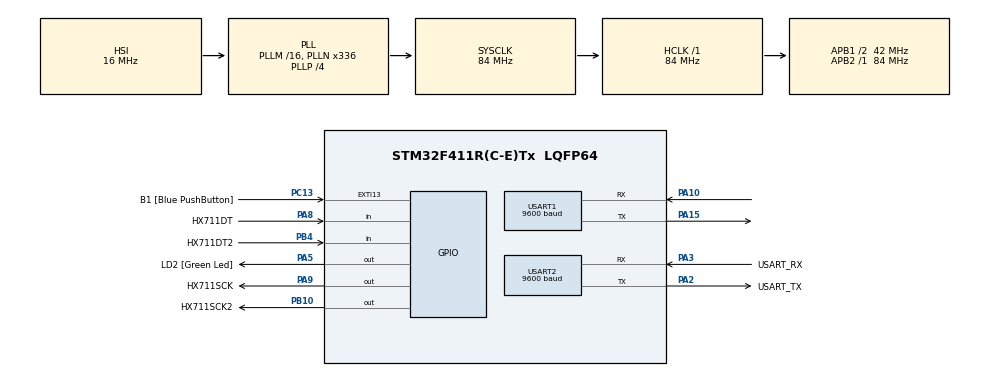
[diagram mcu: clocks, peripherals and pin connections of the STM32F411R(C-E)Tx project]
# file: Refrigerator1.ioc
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FREERTOS.Tasks01=defaultTask,0,128,StartDefaultTask,Default,NULL
FREERTOS.configUSE_TIMERS=1
Mcu.Family=STM32F4
Mcu.Name=STM32F411R(C-E)Tx
Mcu.Package=LQFP64
NVIC.PriorityGroup=NVIC_PRIORITYGROUP_4
PA10.Mode=Asynchronous
PA10.Signal=USART1_RX
PA13.GPIO_Label=TMS
PA13.Mode=Serial_Wire
PA13.Signal=SYS_JTMS-SWDIO
PA14.GPIO_Label=TCK
PA14.Mode=Serial_Wire
PA14.Signal=SYS_JTCK-SWCLK
PA15.Mode=Asynchronous
PA15.Signal=USART1_TX
PA2.GPIO_Label=USART_TX
PA2.Mode=Asynchronous
PA2.Signal=USART2_TX
PA3.GPIO_Label=USART_RX
PA3.Mode=Asynchronous
PA3.Signal=USART2_RX
PA5.GPIO_Label=LD2 [Green Led]
PA5.Signal=GPIO_Output
PA8.GPIO_Label=HX711DT
PA8.Signal=GPIO_Input
PA9.GPIO_Label=HX711SCK
PA9.Signal=GPIO_Output
PB10.GPIO_Label=HX711SCK2
PB10.Signal=GPIO_Output
PB3.GPIO_Label=SWO
PB3.Signal=SYS_JTDO-SWO
PB4.GPIO_Label=HX711DT2
PB4.Signal=GPIO_Input
PC13-ANTI_TAMP.GPIO_Label=B1 [Blue PushButton]
PC13-ANTI_TAMP.GPIO_ModeDefaultEXTI=GPIO_MODE_IT_FALLING
PC13-ANTI_TAMP.Signal=GPXTI13
PC14-OSC32_IN.Mode=LSE-External-Oscillator
PC14-OSC32_IN.Signal=RCC_OSC32_IN
PC15-OSC32_OUT.Mode=LSE-External-Oscillator
PC15-OSC32_OUT.Signal=RCC_OSC32_OUT
PH0\ -\ OSC_IN.Mode=HSE-External-Clock-Source
PH0\ -\ OSC_IN.Signal=RCC_OSC_IN
PH1\ -\ OSC_OUT.Mode=HSE-External-Clock-Source
PH1\ -\ OSC_OUT.Signal=RCC_OSC_OUT
ProjectManager.HeapSize=0x200
ProjectManager.StackSize=0x400
ProjectManager.TargetToolchain=STM32CubeIDE
RCC.48MHZClocksFreq_Value=84000000
RCC.AHBFreq_Value=84000000
RCC.APB1CLKDivider=RCC_HCLK_DIV2
RCC.APB1Freq_Value=42000000
RCC.APB1TimFreq_Value=84000000
RCC.APB2Freq_Value=84000000
RCC.APB2TimFreq_Value=84000000
RCC.CortexFreq_Value=84000000
RCC.FLatency-AdvancedSettings=FLASH_LATENCY_2
RCC.HCLKFreq_Value=84000000
RCC.HSE_VALUE=8000000
RCC.HSI_VALUE=16000000
RCC.PLLN=336
RCC.PLLP=RCC_PLLP_DIV4
RCC.SYSCLKFreq_VALUE=84000000
RCC.SYSCLKSource=RCC_SYSCLKSOURCE_PLLCLK
RCC.VCOOutputFreq_Value=336000000
USART1.BaudRate=9600
USART1.VirtualMode=VM_ASYNC
USART2.BaudRate=9600
USART2.VirtualMode=VM_ASYNC
VP_FREERTOS_VS_CMSIS_V1.Mode=CMSIS_V1
board=NUCLEO-F411RE

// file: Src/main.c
/* USER CODE BEGIN Header */
/**
  ******************************************************************************
  * @file           : main.c
  * @brief          : Main program body
  ******************************************************************************
  * @attention
  *
  * <h2><center>&copy; Copyright (c) 2019 STMicroelectronics.
  * All rights reserved.</center></h2>
  *
  * This software component is licensed by ST under BSD 3-Clause license,
  * the "License"; You may not use this file except in compliance with the
  * License. You may obtain a copy of the License at:
  *                        opensource.org/licenses/BSD-3-Clause
  *
  ******************************************************************************
  */
/* USER CODE END Header */

#include "main.h"
#include "cmsis_os.h"

/* USER CODE BEGIN Includes */
#include "hx711.h"
#include "string.h"
/* USER CODE END Includes */

UART_HandleTypeDef huart1;
UART_HandleTypeDef huart2;

osThreadId defaultTaskHandle;
/* USER CODE BEGIN PV */
volatile int meres = 0;
volatile int meresAtlag = 0;
volatile int meres2 = 0;
volatile int meresAtlag2 = 0;
char buffer[100] = "s";
HX711 hx11;
HX711 hx112;
/* USER CODE END PV */

void SystemClock_Config(void);
static void MX_GPIO_Init(void);
static void MX_USART2_UART_Init(void);
static void MX_USART1_UART_Init(void);
void StartDefaultTask(void const * argument);

/* USER CODE BEGIN 0 */
void transmitter(void *arg){
	HAL_GPIO_TogglePin(GPIOA, GPIO_PIN_5);
	meres = -(HX711_Value(hx11) - 8547400) - 150000;
	for(int i = 0;i<100;i++){
		buffer[i] = '\0';
	}
	if(meres < 0){
		sprintf(buffer,"sSlot 1 : Not enough food. Please refill. Current weight : %d\n\r", meres);
	}
	else{
		sprintf(buffer,"sSlot 1 : Current weight : %d\n\r", meres);
	}
	HAL_UART_Transmit(&huart1, &buffer, 100, 1000);
	HAL_GPIO_TogglePin(GPIOA, GPIO_PIN_5);
		meres2 = HX711_Value(hx112) - 8547400;
		for(int i = 0;i<100;i++){
			buffer[i] = '\0';
		}
		if(meres2 < 0){
			sprintf(buffer,"sSlot 2 : Not enough food. Please refill. Current weight : %d\n\r", meres2);
		}
		else{
			sprintf(buffer,"sSlot 2 : Current weight : %d\n\r", meres2);
		}
	HAL_UART_Transmit(&huart1, &buffer, 100, 1000);
}
osTimerDef(tm, transmitter);
/* USER CODE END 0 */

int main(void)
{
  /* USER CODE BEGIN 1 */
	  hx11.gpioSck = HX711SCK_GPIO_Port;
	  hx11.gpioData = HX711DT_GPIO_Port;
	  hx11.pinSck = HX711SCK_Pin;
	  hx11.pinData = HX711DT_Pin;
	  hx11.offset = 0;
	  hx11.gain = 64;
	  hx112.gpioSck = HX711SCK2_GPIO_Port;
	  hx112.gpioData = HX711DT2_GPIO_Port;
	  hx112.pinSck = HX711SCK2_Pin;
	  hx112.pinData = HX711DT2_Pin;
	  hx112.offset = 0;
	  hx112.gain = 64;
  /* USER CODE END 1 */

  /* MCU Configuration--------------------------------------------------------*/

  /* Reset of all peripherals, Initializes the Flash interface and the Systick. */
  HAL_Init();

  /* Configure the system clock */
  SystemClock_Config();

  /* Initialize all configured peripherals */
  MX_GPIO_Init();
  MX_USART2_UART_Init();
  MX_USART1_UART_Init();
  /* USER CODE BEGIN 2 */
  HX711_Init(hx11);
  HX711_Init(hx112);
  /* USER CODE END 2 */

  /* Create the thread(s) */
  /* definition and creation of defaultTask */
  osThreadDef(defaultTask, StartDefaultTask, osPriorityNormal, 0, 128);
  defaultTaskHandle = osThreadCreate(osThread(defaultTask), NULL);

  /* USER CODE BEGIN RTOS_THREADS */
  /* add threads, ... */
  osTimerId timer_1 = osTimerCreate(osTimer(tm), osTimerPeriodic, NULL);
  osTimerStart(timer_1, 500);
  /* USER CODE END RTOS_THREADS */

  /* Start scheduler */
  osKernelStart();

  /* We should never get here as control is now taken by the scheduler */

  /* Infinite loop */
  while (1)
  {

  }
}

void SystemClock_Config(void)
{
  RCC_OscInitTypeDef RCC_OscInitStruct = {0};
  RCC_ClkInitTypeDef RCC_ClkInitStruct = {0};

  /** Configure the main internal regulator output voltage
  */
  __HAL_RCC_PWR_CLK_ENABLE();
  __HAL_PWR_VOLTAGESCALING_CONFIG(PWR_REGULATOR_VOLTAGE_SCALE1);
  /** Initializes the CPU, AHB and APB busses clocks
  */
  RCC_OscInitStruct.OscillatorType = RCC_OSCILLATORTYPE_HSI;
  RCC_OscInitStruct.HSIState = RCC_HSI_ON;
  RCC_OscInitStruct.HSICalibrationValue = RCC_HSICALIBRATION_DEFAULT;
  RCC_OscInitStruct.PLL.PLLState = RCC_PLL_ON;
  RCC_OscInitStruct.PLL.PLLSource = RCC_PLLSOURCE_HSI;
  RCC_OscInitStruct.PLL.PLLM = 16;
  RCC_OscInitStruct.PLL.PLLN = 336;
  RCC_OscInitStruct.PLL.PLLP = RCC_PLLP_DIV4;
  RCC_OscInitStruct.PLL.PLLQ = 4;
  if (HAL_RCC_OscConfig(&RCC_OscInitStruct) != HAL_OK)
  {
    Error_Handler();
  }
  /** Initializes the CPU, AHB and APB busses clocks
  */
  RCC_ClkInitStruct.ClockType = RCC_CLOCKTYPE_HCLK|RCC_CLOCKTYPE_SYSCLK
                              |RCC_CLOCKTYPE_PCLK1|RCC_CLOCKTYPE_PCLK2;
  RCC_ClkInitStruct.SYSCLKSource = RCC_SYSCLKSOURCE_PLLCLK;
  RCC_ClkInitStruct.AHBCLKDivider = RCC_SYSCLK_DIV1;
  RCC_ClkInitStruct.APB1CLKDivider = RCC_HCLK_DIV2;
  RCC_ClkInitStruct.APB2CLKDivider = RCC_HCLK_DIV1;

  if (HAL_RCC_ClockConfig(&RCC_ClkInitStruct, FLASH_LATENCY_2) != HAL_OK)
  {
    Error_Handler();
  }
}

static void MX_USART1_UART_Init(void)
{

  huart1.Instance = USART1;
  huart1.Init.BaudRate = 9600;
  huart1.Init.WordLength = UART_WORDLENGTH_8B;
  huart1.Init.StopBits = UART_STOPBITS_1;
  huart1.Init.Parity = UART_PARITY_NONE;
  huart1.Init.Mode = UART_MODE_TX_RX;
  huart1.Init.HwFlowCtl = UART_HWCONTROL_NONE;
  huart1.Init.OverSampling = UART_OVERSAMPLING_16;
  if (HAL_UART_Init(&huart1) != HAL_OK)
  {
    Error_Handler();
  }

}

static void MX_USART2_UART_Init(void)
{

  huart2.Instance = USART2;
  huart2.Init.BaudRate = 9600;
  huart2.Init.WordLength = UART_WORDLENGTH_8B;
  huart2.Init.StopBits = UART_STOPBITS_1;
  huart2.Init.Parity = UART_PARITY_NONE;
  huart2.Init.Mode = UART_MODE_TX_RX;
  huart2.Init.HwFlowCtl = UART_HWCONTROL_NONE;
  huart2.Init.OverSampling = UART_OVERSAMPLING_16;
  if (HAL_UART_Init(&huart2) != HAL_OK)
  {
    Error_Handler();
  }

}

static void MX_GPIO_Init(void)
{
  GPIO_InitTypeDef GPIO_InitStruct = {0};

  /* GPIO Ports Clock Enable */
  __HAL_RCC_GPIOC_CLK_ENABLE();
  __HAL_RCC_GPIOH_CLK_ENABLE();
  __HAL_RCC_GPIOA_CLK_ENABLE();
  __HAL_RCC_GPIOB_CLK_ENABLE();

  /*Configure GPIO pin Output Level */
  HAL_GPIO_WritePin(GPIOA, LD2_Pin|HX711SCK_Pin, GPIO_PIN_RESET);

  /*Configure GPIO pin Output Level */
  HAL_GPIO_WritePin(HX711SCK2_GPIO_Port, HX711SCK2_Pin, GPIO_PIN_RESET);

  /*Configure GPIO pin : B1_Pin */
  GPIO_InitStruct.Pin = B1_Pin;
  GPIO_InitStruct.Mode = GPIO_MODE_IT_FALLING;
  GPIO_InitStruct.Pull = GPIO_NOPULL;
  HAL_GPIO_Init(B1_GPIO_Port, &GPIO_InitStruct);

  /*Configure GPIO pins : LD2_Pin HX711SCK_Pin */
  GPIO_InitStruct.Pin = LD2_Pin|HX711SCK_Pin;
  GPIO_InitStruct.Mode = GPIO_MODE_OUTPUT_PP;
  GPIO_InitStruct.Pull = GPIO_NOPULL;
  GPIO_InitStruct.Speed = GPIO_SPEED_FREQ_LOW;
  HAL_GPIO_Init(GPIOA, &GPIO_InitStruct);

  /*Configure GPIO pin : HX711SCK2_Pin */
  GPIO_InitStruct.Pin = HX711SCK2_Pin;
  GPIO_InitStruct.Mode = GPIO_MODE_OUTPUT_PP;
  GPIO_InitStruct.Pull = GPIO_NOPULL;
  GPIO_InitStruct.Speed = GPIO_SPEED_FREQ_LOW;
  HAL_GPIO_Init(HX711SCK2_GPIO_Port, &GPIO_InitStruct);

  /*Configure GPIO pin : HX711DT_Pin */
  GPIO_InitStruct.Pin = HX711DT_Pin;
  GPIO_InitStruct.Mode = GPIO_MODE_INPUT;
  GPIO_InitStruct.Pull = GPIO_NOPULL;
  HAL_GPIO_Init(HX711DT_GPIO_Port, &GPIO_InitStruct);

  /*Configure GPIO pin : HX711DT2_Pin */
  GPIO_InitStruct.Pin = HX711DT2_Pin;
  GPIO_InitStruct.Mode = GPIO_MODE_INPUT;
  GPIO_InitStruct.Pull = GPIO_NOPULL;
  HAL_GPIO_Init(HX711DT2_GPIO_Port, &GPIO_InitStruct);

}

void StartDefaultTask(void const * argument)
{

  for(;;)
  {
    osDelay(1);
  }
}

void Error_Handler(void)
{
}

/************************ (C) COPYRIGHT STMicroelectronics *****END OF FILE****/
